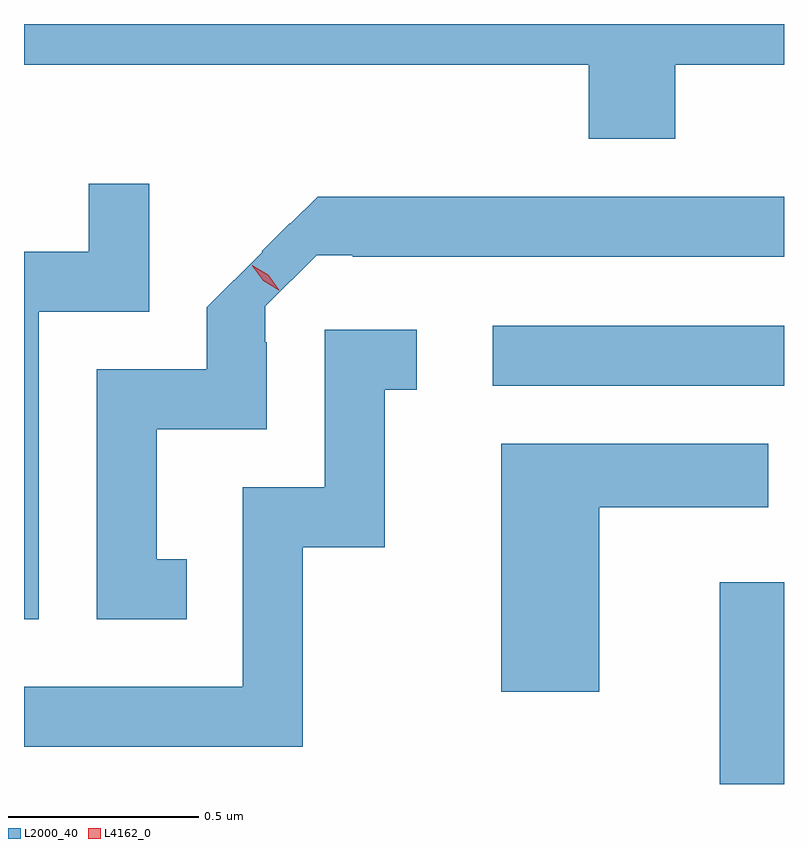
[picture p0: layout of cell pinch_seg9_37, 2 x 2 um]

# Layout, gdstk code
import gdstk
lib = gdstk.Library(unit=1e-6, precision=1e-09)
def R(c, l, rs):  # rectangles x0, y0, x1, y1
    for r in rs: c.add(gdstk.rectangle(r[:2], r[2:], *l))
def P(c, l, *ps):  # polygons
    for p in ps: c.add(gdstk.Polygon(p, *l))
L2000_40 = (2000, 40)
L4162_0 = (4162, 0)

pinch_seg9_37 = lib.new_cell('pinch_seg9_37')
R(pinch_seg9_37, L2000_40, [(951.771,1965.503,951.94,1966.034), (951.173,1966.551,951.94,1966.709)])
P(pinch_seg9_37, L2000_40, [(951.654,1967.396),(951.94,1967.396),(951.94,1967.503),(949.94,1967.503),(949.94,1967.396),(951.426,1967.396),(951.426,1967.201),(951.654,1967.201)],
  [(949.979,1966.746),(950.269,1966.746),(950.269,1967.083),(950.111,1967.083),(950.111,1966.904),(949.94,1966.904),(949.94,1965.936),(949.979,1965.936)],
  [(950.368,1966.094),(950.289,1966.094),(950.289,1966.436),(950.579,1966.436),(950.579,1966.665),(950.575,1966.665),(950.575,1966.76),(950.711,1966.895),(950.805,1966.895),(950.805,1966.891),(951.94,1966.891),(951.94,1967.049),(950.713,1967.049),(950.641,1966.977),(950.639,1966.979),(950.565,1966.905),(950.567,1966.903),(950.421,1966.758),(950.421,1966.594),(950.131,1966.594),(950.131,1965.936),(950.368,1965.936)],
  [(950.674,1966.126),(950.889,1966.126),(950.889,1966.541),(950.973,1966.541),(950.973,1966.699),(950.731,1966.699),(950.731,1966.284),(950.516,1966.284),(950.516,1965.759),(949.94,1965.759),(949.94,1965.601),(950.674,1965.601)],
  [(951.454,1966.231),(951.898,1966.231),(951.898,1966.399),(951.196,1966.399),(951.196,1965.746),(951.454,1965.746)])
P(pinch_seg9_37, L4162_0, [(950.611,1966.802),(950.57,1966.828),(950.54,1966.867),(950.54,1966.868),(950.541,1966.868),(950.583,1966.843),(950.612,1966.803),(950.612,1966.802)])

lib.write_gds('pinch_seg9_37.gds')
